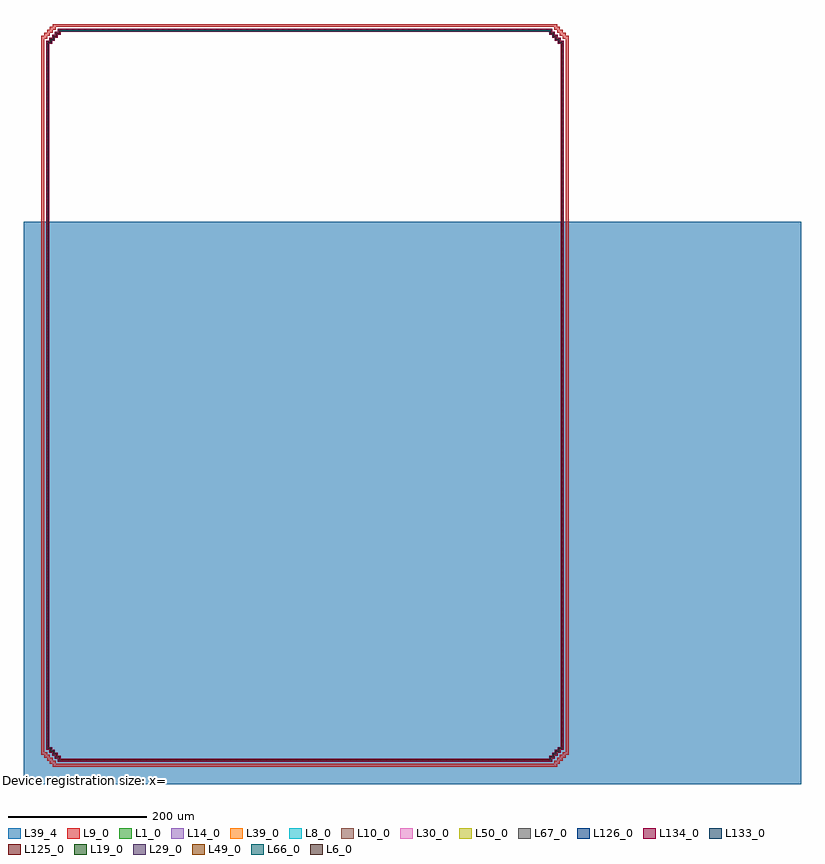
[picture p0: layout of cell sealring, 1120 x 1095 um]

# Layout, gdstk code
import gdstk
lib = gdstk.Library(unit=1e-6, precision=1e-09)
def R(c, l, rs):  # rectangles x0, y0, x1, y1
    for r in rs: c.add(gdstk.rectangle(r[:2], r[2:], *l))
def P(c, l, *ps):  # polygons
    for p in ps: c.add(gdstk.Polygon(p, *l))
L1_0 = (1, 0)
L6_0 = (6, 0)
L8_0 = (8, 0)
L9_0 = (9, 0)
L10_0 = (10, 0)
L14_0 = (14, 0)
L19_0 = (19, 0)
L29_0 = (29, 0)
L30_0 = (30, 0)
L39_0 = (39, 0)
L39_4 = (39, 4)
L49_0 = (49, 0)
L50_0 = (50, 0)
L66_0 = (66, 0)
L67_0 = (67, 0)
L125_0 = (125, 0)
L126_0 = (126, 0)
L133_0 = (133, 0)
L134_0 = (134, 0)

sealring = lib.new_cell('sealring')
R(sealring, L1_0, [(49,32.2,53.2,40.6), (53.2,32.2,756.8,36.4), (756.8,32.2,761,36.4), (44.8,36.4,49,44.8), (756.8,36.4,765.2,40.6), (40.6,40.6,44.8,49), (761,40.6,769.4,44.8), (36.4,44.8,40.6,53.2), (765.2,44.8,773.6,49), (32.2,49,36.4,53.2), (769.4,49,777.8,53.2), (32.2,53.2,36.4,1066.8), (773.6,53.2,777.8,1066.8), (32.2,1066.8,40.6,1071), (769.4,1066.8,773.6,1075.2), (773.6,1066.8,777.8,1071), (36.4,1071,44.8,1075.2), (765.2,1071,769.4,1079.4), (40.6,1075.2,49,1079.4), (761,1075.2,765.2,1083.6), (44.8,1079.4,53.2,1083.6), (756.8,1079.4,761,1087.8), (49,1083.6,53.2,1087.8), (53.2,1083.6,756.8,1087.8)])
R(sealring, L6_0, [(53.2,34.2,756.8,34.36), (34.2,53.2,34.36,1066.8), (775.64,53.2,775.8,1066.8), (53.2,1085.64,756.8,1085.8)])
P(sealring, L6_0, [(775.64,1066.8),(775.64,1068.84),(771.44,1068.84),(771.44,1073.04),(767.24,1073.04),(767.24,1077.24),(763.04,1077.24),(763.04,1081.44),(758.84,1081.44),(758.84,1085.64),(756.8,1085.64),(756.8,1085.8),(759,1085.8),(759,1081.6),(763.2,1081.6),(763.2,1077.4),(767.4,1077.4),(767.4,1073.2),(771.6,1073.2),(771.6,1069),(775.8,1069),(775.8,1066.8)],
  [(51,34.2),(51,38.4),(46.8,38.4),(46.8,42.6),(42.6,42.6),(42.6,46.8),(38.4,46.8),(38.4,51),(34.2,51),(34.2,53.2),(34.36,53.2),(34.36,51.16),(38.56,51.16),(38.56,46.96),(42.76,46.96),(42.76,42.76),(46.96,42.76),(46.96,38.56),(51.16,38.56),(51.16,34.36),(53.2,34.36),(53.2,34.2)],
  [(756.8,34.2),(756.8,34.36),(758.84,34.36),(758.84,38.56),(763.04,38.56),(763.04,42.76),(767.24,42.76),(767.24,46.96),(771.44,46.96),(771.44,51.16),(775.64,51.16),(775.64,53.2),(775.8,53.2),(775.8,51),(771.6,51),(771.6,46.8),(767.4,46.8),(767.4,42.6),(763.2,42.6),(763.2,38.4),(759,38.4),(759,34.2)],
  [(34.2,1066.8),(34.2,1069),(38.4,1069),(38.4,1073.2),(42.6,1073.2),(42.6,1077.4),(46.8,1077.4),(46.8,1081.6),(51,1081.6),(51,1085.8),(53.2,1085.8),(53.2,1085.64),(51.16,1085.64),(51.16,1081.44),(46.96,1081.44),(46.96,1077.24),(42.76,1077.24),(42.76,1073.04),(38.56,1073.04),(38.56,1068.84),(34.36,1068.84),(34.36,1066.8)])
R(sealring, L8_0, [(49,32.2,53.2,40.6), (53.2,32.2,756.8,36.4), (756.8,32.2,761,36.4), (44.8,36.4,49,44.8), (756.8,36.4,765.2,40.6), (40.6,40.6,44.8,49), (761,40.6,769.4,44.8), (36.4,44.8,40.6,53.2), (765.2,44.8,773.6,49), (32.2,49,36.4,53.2), (769.4,49,777.8,53.2), (32.2,53.2,36.4,1066.8), (773.6,53.2,777.8,1066.8), (32.2,1066.8,40.6,1071), (769.4,1066.8,773.6,1075.2), (773.6,1066.8,777.8,1071), (36.4,1071,44.8,1075.2), (765.2,1071,769.4,1079.4), (40.6,1075.2,49,1079.4), (761,1075.2,765.2,1083.6), (44.8,1079.4,53.2,1083.6), (756.8,1079.4,761,1087.8), (49,1083.6,53.2,1087.8), (53.2,1083.6,756.8,1087.8)])
R(sealring, L9_0, [(53.2,25,756.8,29.2), (25,53.2,29.2,1066.8), (780.8,53.2,785,1066.8), (53.2,1090.8,756.8,1095)])
P(sealring, L9_0, [(41.8,25),(41.8,29.2),(37.6,29.2),(37.6,33.4),(33.4,33.4),(33.4,37.6),(29.2,37.6),(29.2,41.8),(25,41.8),(25,53.2),(29.2,53.2),(29.2,46),(33.4,46),(33.4,41.8),(37.6,41.8),(37.6,37.6),(41.8,37.6),(41.8,33.4),(46,33.4),(46,29.2),(78.2,29.2),(78.2,25)],
  [(780.8,1066.8),(780.8,1074),(776.6,1074),(776.6,1078.2),(772.4,1078.2),(772.4,1082.4),(768.2,1082.4),(768.2,1086.6),(764,1086.6),(764,1090.8),(731.8,1090.8),(731.8,1095),(768.2,1095),(768.2,1090.8),(772.4,1090.8),(772.4,1086.6),(776.6,1086.6),(776.6,1082.4),(780.8,1082.4),(780.8,1078.2),(785,1078.2),(785,1066.8)],
  [(756.8,25),(756.8,29.2),(764,29.2),(764,33.4),(768.2,33.4),(768.2,37.6),(772.4,37.6),(772.4,41.8),(776.6,41.8),(776.6,46),(780.8,46),(780.8,78.2),(785,78.2),(785,41.8),(780.8,41.8),(780.8,37.6),(776.6,37.6),(776.6,33.4),(772.4,33.4),(772.4,29.2),(768.2,29.2),(768.2,25)],
  [(25,1041.8),(25,1078.2),(29.2,1078.2),(29.2,1082.4),(33.4,1082.4),(33.4,1086.6),(37.6,1086.6),(37.6,1090.8),(41.8,1090.8),(41.8,1095),(53.2,1095),(53.2,1090.8),(46,1090.8),(46,1086.6),(41.8,1086.6),(41.8,1082.4),(37.6,1082.4),(37.6,1078.2),(33.4,1078.2),(33.4,1074),(29.2,1074),(29.2,1041.8)])
R(sealring, L10_0, [(49,32.2,53.2,40.6), (53.2,32.2,756.8,36.4), (756.8,32.2,761,36.4), (44.8,36.4,49,44.8), (756.8,36.4,765.2,40.6), (40.6,40.6,44.8,49), (761,40.6,769.4,44.8), (36.4,44.8,40.6,53.2), (765.2,44.8,773.6,49), (32.2,49,36.4,53.2), (769.4,49,777.8,53.2), (32.2,53.2,36.4,1066.8), (773.6,53.2,777.8,1066.8), (32.2,1066.8,40.6,1071), (769.4,1066.8,773.6,1075.2), (773.6,1066.8,777.8,1071), (36.4,1071,44.8,1075.2), (765.2,1071,769.4,1079.4), (40.6,1075.2,49,1079.4), (761,1075.2,765.2,1083.6), (44.8,1079.4,53.2,1083.6), (756.8,1079.4,761,1087.8), (49,1083.6,53.2,1087.8), (53.2,1083.6,756.8,1087.8)])
R(sealring, L14_0, [(49,32.2,53.2,40.6), (53.2,32.2,756.8,36.4), (756.8,32.2,761,36.4), (44.8,36.4,49,44.8), (756.8,36.4,765.2,40.6), (40.6,40.6,44.8,49), (761,40.6,769.4,44.8), (36.4,44.8,40.6,53.2), (765.2,44.8,773.6,49), (32.2,49,36.4,53.2), (769.4,49,777.8,53.2), (32.2,53.2,36.4,1066.8), (773.6,53.2,777.8,1066.8), (32.2,1066.8,40.6,1071), (769.4,1066.8,773.6,1075.2), (773.6,1066.8,777.8,1071), (36.4,1071,44.8,1075.2), (765.2,1071,769.4,1079.4), (40.6,1075.2,49,1079.4), (761,1075.2,765.2,1083.6), (44.8,1079.4,53.2,1083.6), (756.8,1079.4,761,1087.8), (49,1083.6,53.2,1087.8), (53.2,1083.6,756.8,1087.8)])
R(sealring, L19_0, [(53.2,34.2,756.8,34.39), (34.2,53.2,34.39,1066.8), (775.61,53.2,775.8,1066.8), (53.2,1085.61,756.8,1085.8)])
P(sealring, L19_0, [(775.61,1066.8),(775.61,1068.81),(771.41,1068.81),(771.41,1073.01),(767.21,1073.01),(767.21,1077.21),(763.01,1077.21),(763.01,1081.41),(758.81,1081.41),(758.81,1085.61),(756.8,1085.61),(756.8,1085.8),(759,1085.8),(759,1081.6),(763.2,1081.6),(763.2,1077.4),(767.4,1077.4),(767.4,1073.2),(771.6,1073.2),(771.6,1069),(775.8,1069),(775.8,1066.8)],
  [(51,34.2),(51,38.4),(46.8,38.4),(46.8,42.6),(42.6,42.6),(42.6,46.8),(38.4,46.8),(38.4,51),(34.2,51),(34.2,53.2),(34.39,53.2),(34.39,51.19),(38.59,51.19),(38.59,46.99),(42.79,46.99),(42.79,42.79),(46.99,42.79),(46.99,38.59),(51.19,38.59),(51.19,34.39),(53.2,34.39),(53.2,34.2)],
  [(756.8,34.2),(756.8,34.39),(758.81,34.39),(758.81,38.59),(763.01,38.59),(763.01,42.79),(767.21,42.79),(767.21,46.99),(771.41,46.99),(771.41,51.19),(775.61,51.19),(775.61,53.2),(775.8,53.2),(775.8,51),(771.6,51),(771.6,46.8),(767.4,46.8),(767.4,42.6),(763.2,42.6),(763.2,38.4),(759,38.4),(759,34.2)],
  [(34.2,1066.8),(34.2,1069),(38.4,1069),(38.4,1073.2),(42.6,1073.2),(42.6,1077.4),(46.8,1077.4),(46.8,1081.6),(51,1081.6),(51,1085.8),(53.2,1085.8),(53.2,1085.61),(51.19,1085.61),(51.19,1081.41),(46.99,1081.41),(46.99,1077.21),(42.79,1077.21),(42.79,1073.01),(38.59,1073.01),(38.59,1068.81),(34.39,1068.81),(34.39,1066.8)])
R(sealring, L29_0, [(53.2,34.2,756.8,34.39), (34.2,53.2,34.39,1066.8), (775.61,53.2,775.8,1066.8), (53.2,1085.61,756.8,1085.8)])
P(sealring, L29_0, [(775.61,1066.8),(775.61,1068.81),(771.41,1068.81),(771.41,1073.01),(767.21,1073.01),(767.21,1077.21),(763.01,1077.21),(763.01,1081.41),(758.81,1081.41),(758.81,1085.61),(756.8,1085.61),(756.8,1085.8),(759,1085.8),(759,1081.6),(763.2,1081.6),(763.2,1077.4),(767.4,1077.4),(767.4,1073.2),(771.6,1073.2),(771.6,1069),(775.8,1069),(775.8,1066.8)],
  [(51,34.2),(51,38.4),(46.8,38.4),(46.8,42.6),(42.6,42.6),(42.6,46.8),(38.4,46.8),(38.4,51),(34.2,51),(34.2,53.2),(34.39,53.2),(34.39,51.19),(38.59,51.19),(38.59,46.99),(42.79,46.99),(42.79,42.79),(46.99,42.79),(46.99,38.59),(51.19,38.59),(51.19,34.39),(53.2,34.39),(53.2,34.2)],
  [(756.8,34.2),(756.8,34.39),(758.81,34.39),(758.81,38.59),(763.01,38.59),(763.01,42.79),(767.21,42.79),(767.21,46.99),(771.41,46.99),(771.41,51.19),(775.61,51.19),(775.61,53.2),(775.8,53.2),(775.8,51),(771.6,51),(771.6,46.8),(767.4,46.8),(767.4,42.6),(763.2,42.6),(763.2,38.4),(759,38.4),(759,34.2)],
  [(34.2,1066.8),(34.2,1069),(38.4,1069),(38.4,1073.2),(42.6,1073.2),(42.6,1077.4),(46.8,1077.4),(46.8,1081.6),(51,1081.6),(51,1085.8),(53.2,1085.8),(53.2,1085.61),(51.19,1085.61),(51.19,1081.41),(46.99,1081.41),(46.99,1077.21),(42.79,1077.21),(42.79,1073.01),(38.59,1073.01),(38.59,1068.81),(34.39,1068.81),(34.39,1066.8)])
R(sealring, L30_0, [(49,32.2,53.2,40.6), (53.2,32.2,756.8,36.4), (756.8,32.2,761,36.4), (44.8,36.4,49,44.8), (756.8,36.4,765.2,40.6), (40.6,40.6,44.8,49), (761,40.6,769.4,44.8), (36.4,44.8,40.6,53.2), (765.2,44.8,773.6,49), (32.2,49,36.4,53.2), (769.4,49,777.8,53.2), (32.2,53.2,36.4,1066.8), (773.6,53.2,777.8,1066.8), (32.2,1066.8,40.6,1071), (769.4,1066.8,773.6,1075.2), (773.6,1066.8,777.8,1071), (36.4,1071,44.8,1075.2), (765.2,1071,769.4,1079.4), (40.6,1075.2,49,1079.4), (761,1075.2,765.2,1083.6), (44.8,1079.4,53.2,1083.6), (756.8,1079.4,761,1087.8), (49,1083.6,53.2,1087.8), (53.2,1083.6,756.8,1087.8)])
R(sealring, L39_0, [(49,32.2,53.2,40.6), (53.2,32.2,756.8,36.4), (756.8,32.2,761,36.4), (44.8,36.4,49,44.8), (756.8,36.4,765.2,40.6), (40.6,40.6,44.8,49), (761,40.6,769.4,44.8), (36.4,44.8,40.6,53.2), (765.2,44.8,773.6,49), (32.2,49,36.4,53.2), (769.4,49,777.8,53.2), (32.2,53.2,36.4,1066.8), (773.6,53.2,777.8,1066.8), (32.2,1066.8,40.6,1071), (769.4,1066.8,773.6,1075.2), (773.6,1066.8,777.8,1071), (36.4,1071,44.8,1075.2), (765.2,1071,769.4,1079.4), (40.6,1075.2,49,1079.4), (761,1075.2,765.2,1083.6), (44.8,1079.4,53.2,1083.6), (756.8,1079.4,761,1087.8), (49,1083.6,53.2,1087.8), (53.2,1083.6,756.8,1087.8)])
R(sealring, L39_4, [(0,0,1120,810)])
R(sealring, L49_0, [(53.2,34.2,756.8,34.39), (34.2,53.2,34.39,1066.8), (775.61,53.2,775.8,1066.8), (53.2,1085.61,756.8,1085.8)])
P(sealring, L49_0, [(775.61,1066.8),(775.61,1068.81),(771.41,1068.81),(771.41,1073.01),(767.21,1073.01),(767.21,1077.21),(763.01,1077.21),(763.01,1081.41),(758.81,1081.41),(758.81,1085.61),(756.8,1085.61),(756.8,1085.8),(759,1085.8),(759,1081.6),(763.2,1081.6),(763.2,1077.4),(767.4,1077.4),(767.4,1073.2),(771.6,1073.2),(771.6,1069),(775.8,1069),(775.8,1066.8)],
  [(51,34.2),(51,38.4),(46.8,38.4),(46.8,42.6),(42.6,42.6),(42.6,46.8),(38.4,46.8),(38.4,51),(34.2,51),(34.2,53.2),(34.39,53.2),(34.39,51.19),(38.59,51.19),(38.59,46.99),(42.79,46.99),(42.79,42.79),(46.99,42.79),(46.99,38.59),(51.19,38.59),(51.19,34.39),(53.2,34.39),(53.2,34.2)],
  [(756.8,34.2),(756.8,34.39),(758.81,34.39),(758.81,38.59),(763.01,38.59),(763.01,42.79),(767.21,42.79),(767.21,46.99),(771.41,46.99),(771.41,51.19),(775.61,51.19),(775.61,53.2),(775.8,53.2),(775.8,51),(771.6,51),(771.6,46.8),(767.4,46.8),(767.4,42.6),(763.2,42.6),(763.2,38.4),(759,38.4),(759,34.2)],
  [(34.2,1066.8),(34.2,1069),(38.4,1069),(38.4,1073.2),(42.6,1073.2),(42.6,1077.4),(46.8,1077.4),(46.8,1081.6),(51,1081.6),(51,1085.8),(53.2,1085.8),(53.2,1085.61),(51.19,1085.61),(51.19,1081.41),(46.99,1081.41),(46.99,1077.21),(42.79,1077.21),(42.79,1073.01),(38.59,1073.01),(38.59,1068.81),(34.39,1068.81),(34.39,1066.8)])
R(sealring, L50_0, [(49,32.2,53.2,40.6), (53.2,32.2,756.8,36.4), (756.8,32.2,761,36.4), (44.8,36.4,49,44.8), (756.8,36.4,765.2,40.6), (40.6,40.6,44.8,49), (761,40.6,769.4,44.8), (36.4,44.8,40.6,53.2), (765.2,44.8,773.6,49), (32.2,49,36.4,53.2), (769.4,49,777.8,53.2), (32.2,53.2,36.4,1066.8), (773.6,53.2,777.8,1066.8), (32.2,1066.8,40.6,1071), (769.4,1066.8,773.6,1075.2), (773.6,1066.8,777.8,1071), (36.4,1071,44.8,1075.2), (765.2,1071,769.4,1079.4), (40.6,1075.2,49,1079.4), (761,1075.2,765.2,1083.6), (44.8,1079.4,53.2,1083.6), (756.8,1079.4,761,1087.8), (49,1083.6,53.2,1087.8), (53.2,1083.6,756.8,1087.8)])
R(sealring, L66_0, [(53.2,34.2,756.8,34.39), (34.2,53.2,34.39,1066.8), (775.61,53.2,775.8,1066.8), (53.2,1085.61,756.8,1085.8)])
P(sealring, L66_0, [(775.61,1066.8),(775.61,1068.81),(771.41,1068.81),(771.41,1073.01),(767.21,1073.01),(767.21,1077.21),(763.01,1077.21),(763.01,1081.41),(758.81,1081.41),(758.81,1085.61),(756.8,1085.61),(756.8,1085.8),(759,1085.8),(759,1081.6),(763.2,1081.6),(763.2,1077.4),(767.4,1077.4),(767.4,1073.2),(771.6,1073.2),(771.6,1069),(775.8,1069),(775.8,1066.8)],
  [(51,34.2),(51,38.4),(46.8,38.4),(46.8,42.6),(42.6,42.6),(42.6,46.8),(38.4,46.8),(38.4,51),(34.2,51),(34.2,53.2),(34.39,53.2),(34.39,51.19),(38.59,51.19),(38.59,46.99),(42.79,46.99),(42.79,42.79),(46.99,42.79),(46.99,38.59),(51.19,38.59),(51.19,34.39),(53.2,34.39),(53.2,34.2)],
  [(756.8,34.2),(756.8,34.39),(758.81,34.39),(758.81,38.59),(763.01,38.59),(763.01,42.79),(767.21,42.79),(767.21,46.99),(771.41,46.99),(771.41,51.19),(775.61,51.19),(775.61,53.2),(775.8,53.2),(775.8,51),(771.6,51),(771.6,46.8),(767.4,46.8),(767.4,42.6),(763.2,42.6),(763.2,38.4),(759,38.4),(759,34.2)],
  [(34.2,1066.8),(34.2,1069),(38.4,1069),(38.4,1073.2),(42.6,1073.2),(42.6,1077.4),(46.8,1077.4),(46.8,1081.6),(51,1081.6),(51,1085.8),(53.2,1085.8),(53.2,1085.61),(51.19,1085.61),(51.19,1081.41),(46.99,1081.41),(46.99,1077.21),(42.79,1077.21),(42.79,1073.01),(38.59,1073.01),(38.59,1068.81),(34.39,1068.81),(34.39,1066.8)])
R(sealring, L67_0, [(49,32.2,53.2,40.6), (53.2,32.2,756.8,36.4), (756.8,32.2,761,36.4), (44.8,36.4,49,44.8), (756.8,36.4,765.2,40.6), (40.6,40.6,44.8,49), (761,40.6,769.4,44.8), (36.4,44.8,40.6,53.2), (765.2,44.8,773.6,49), (32.2,49,36.4,53.2), (769.4,49,777.8,53.2), (32.2,53.2,36.4,1066.8), (773.6,53.2,777.8,1066.8), (32.2,1066.8,40.6,1071), (769.4,1066.8,773.6,1075.2), (773.6,1066.8,777.8,1071), (36.4,1071,44.8,1075.2), (765.2,1071,769.4,1079.4), (40.6,1075.2,49,1079.4), (761,1075.2,765.2,1083.6), (44.8,1079.4,53.2,1083.6), (756.8,1079.4,761,1087.8), (49,1083.6,53.2,1087.8), (53.2,1083.6,756.8,1087.8)])
R(sealring, L125_0, [(53.2,34.2,756.8,34.62), (34.2,53.2,34.62,1066.8), (775.38,53.2,775.8,1066.8), (53.2,1085.38,756.8,1085.8)])
P(sealring, L125_0, [(775.38,1066.8),(775.38,1068.58),(771.18,1068.58),(771.18,1072.78),(766.98,1072.78),(766.98,1076.98),(762.78,1076.98),(762.78,1081.18),(758.58,1081.18),(758.58,1085.38),(756.8,1085.38),(756.8,1085.8),(759,1085.8),(759,1081.6),(763.2,1081.6),(763.2,1077.4),(767.4,1077.4),(767.4,1073.2),(771.6,1073.2),(771.6,1069),(775.8,1069),(775.8,1066.8)],
  [(51,34.2),(51,38.4),(46.8,38.4),(46.8,42.6),(42.6,42.6),(42.6,46.8),(38.4,46.8),(38.4,51),(34.2,51),(34.2,53.2),(34.62,53.2),(34.62,51.42),(38.82,51.42),(38.82,47.22),(43.02,47.22),(43.02,43.02),(47.22,43.02),(47.22,38.82),(51.42,38.82),(51.42,34.62),(53.2,34.62),(53.2,34.2)],
  [(756.8,34.2),(756.8,34.62),(758.58,34.62),(758.58,38.82),(762.78,38.82),(762.78,43.02),(766.98,43.02),(766.98,47.22),(771.18,47.22),(771.18,51.42),(775.38,51.42),(775.38,53.2),(775.8,53.2),(775.8,51),(771.6,51),(771.6,46.8),(767.4,46.8),(767.4,42.6),(763.2,42.6),(763.2,38.4),(759,38.4),(759,34.2)],
  [(34.2,1066.8),(34.2,1069),(38.4,1069),(38.4,1073.2),(42.6,1073.2),(42.6,1077.4),(46.8,1077.4),(46.8,1081.6),(51,1081.6),(51,1085.8),(53.2,1085.8),(53.2,1085.38),(51.42,1085.38),(51.42,1081.18),(47.22,1081.18),(47.22,1076.98),(43.02,1076.98),(43.02,1072.78),(38.82,1072.78),(38.82,1068.58),(34.62,1068.58),(34.62,1066.8)])
R(sealring, L126_0, [(49,32.2,53.2,40.6), (53.2,32.2,756.8,36.4), (756.8,32.2,761,36.4), (44.8,36.4,49,44.8), (756.8,36.4,765.2,40.6), (40.6,40.6,44.8,49), (761,40.6,769.4,44.8), (36.4,44.8,40.6,53.2), (765.2,44.8,773.6,49), (32.2,49,36.4,53.2), (769.4,49,777.8,53.2), (32.2,53.2,36.4,1066.8), (773.6,53.2,777.8,1066.8), (32.2,1066.8,40.6,1071), (769.4,1066.8,773.6,1075.2), (773.6,1066.8,777.8,1071), (36.4,1071,44.8,1075.2), (765.2,1071,769.4,1079.4), (40.6,1075.2,49,1079.4), (761,1075.2,765.2,1083.6), (44.8,1079.4,53.2,1083.6), (756.8,1079.4,761,1087.8), (49,1083.6,53.2,1087.8), (53.2,1083.6,756.8,1087.8)])
R(sealring, L133_0, [(53.2,34.2,756.8,35.1), (34.2,53.2,35.1,1066.8), (774.9,53.2,775.8,1066.8), (53.2,1084.9,756.8,1085.8)])
P(sealring, L133_0, [(774.9,1066.8),(774.9,1068.1),(770.7,1068.1),(770.7,1072.3),(766.5,1072.3),(766.5,1076.5),(762.3,1076.5),(762.3,1080.7),(758.1,1080.7),(758.1,1084.9),(756.8,1084.9),(756.8,1085.8),(759,1085.8),(759,1081.6),(763.2,1081.6),(763.2,1077.4),(767.4,1077.4),(767.4,1073.2),(771.6,1073.2),(771.6,1069),(775.8,1069),(775.8,1066.8)],
  [(51,34.2),(51,38.4),(46.8,38.4),(46.8,42.6),(42.6,42.6),(42.6,46.8),(38.4,46.8),(38.4,51),(34.2,51),(34.2,53.2),(35.1,53.2),(35.1,51.9),(39.3,51.9),(39.3,47.7),(43.5,47.7),(43.5,43.5),(47.7,43.5),(47.7,39.3),(51.9,39.3),(51.9,35.1),(53.2,35.1),(53.2,34.2)],
  [(756.8,34.2),(756.8,35.1),(758.1,35.1),(758.1,39.3),(762.3,39.3),(762.3,43.5),(766.5,43.5),(766.5,47.7),(770.7,47.7),(770.7,51.9),(774.9,51.9),(774.9,53.2),(775.8,53.2),(775.8,51),(771.6,51),(771.6,46.8),(767.4,46.8),(767.4,42.6),(763.2,42.6),(763.2,38.4),(759,38.4),(759,34.2)],
  [(34.2,1066.8),(34.2,1069),(38.4,1069),(38.4,1073.2),(42.6,1073.2),(42.6,1077.4),(46.8,1077.4),(46.8,1081.6),(51,1081.6),(51,1085.8),(53.2,1085.8),(53.2,1084.9),(51.9,1084.9),(51.9,1080.7),(47.7,1080.7),(47.7,1076.5),(43.5,1076.5),(43.5,1072.3),(39.3,1072.3),(39.3,1068.1),(35.1,1068.1),(35.1,1066.8)])
R(sealring, L134_0, [(49,32.2,53.2,40.6), (53.2,32.2,756.8,36.4), (756.8,32.2,761,36.4), (44.8,36.4,49,44.8), (756.8,36.4,765.2,40.6), (40.6,40.6,44.8,49), (761,40.6,769.4,44.8), (36.4,44.8,40.6,53.2), (765.2,44.8,773.6,49), (32.2,49,36.4,53.2), (769.4,49,777.8,53.2), (32.2,53.2,36.4,1066.8), (773.6,53.2,777.8,1066.8), (32.2,1066.8,40.6,1071), (769.4,1066.8,773.6,1075.2), (773.6,1066.8,777.8,1071), (36.4,1071,44.8,1075.2), (765.2,1071,769.4,1079.4), (40.6,1075.2,49,1079.4), (761,1075.2,765.2,1083.6), (44.8,1079.4,53.2,1083.6), (756.8,1079.4,761,1087.8), (49,1083.6,53.2,1087.8), (53.2,1083.6,756.8,1087.8)])
sealring.add(gdstk.Label('Device registration size: x=810.0 um ; y=1120.0 um\nCalculated area: 9.1e-07 sq mm', (5,5), layer=63, texttype=0))

lib.write_gds('sealring.gds')
